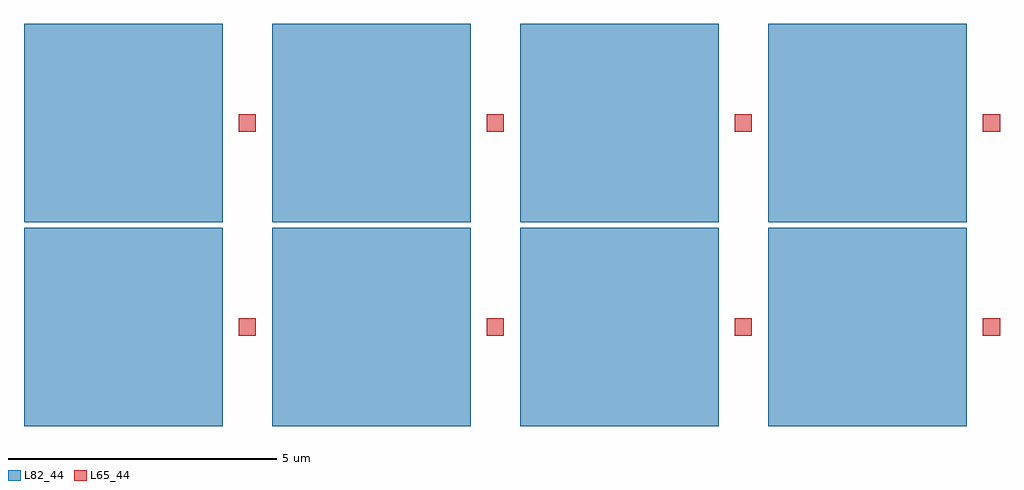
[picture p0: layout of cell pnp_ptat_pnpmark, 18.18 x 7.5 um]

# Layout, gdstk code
import gdstk
lib = gdstk.Library(unit=1e-6, precision=1e-09)
def R(c, l, rs):  # rectangles x0, y0, x1, y1
    for r in rs: c.add(gdstk.rectangle(r[:2], r[2:], *l))
def A(c, l, x, y, w, h, nx, ny, dx, dy):  # array of equal rectangles
    R(c, l, [(x+i*dx, y+j*dy, x+i*dx+w, y+j*dy+h) for i in range(nx) for j in range(ny)])
L65_44 = (65, 44)
L82_44 = (82, 44)

pnp_ptat_pnpmark = lib.new_cell('pnp_ptat_pnpmark')
A(pnp_ptat_pnpmark, L65_44, 3.85, 1.54, 0.32, 0.32, 4, 2, 4.62, 3.8)
A(pnp_ptat_pnpmark, L82_44, -0.15, -0.15, 3.7, 3.7, 4, 2, 4.62, 3.8)

lib.write_gds('pnp_ptat_pnpmark.gds')
